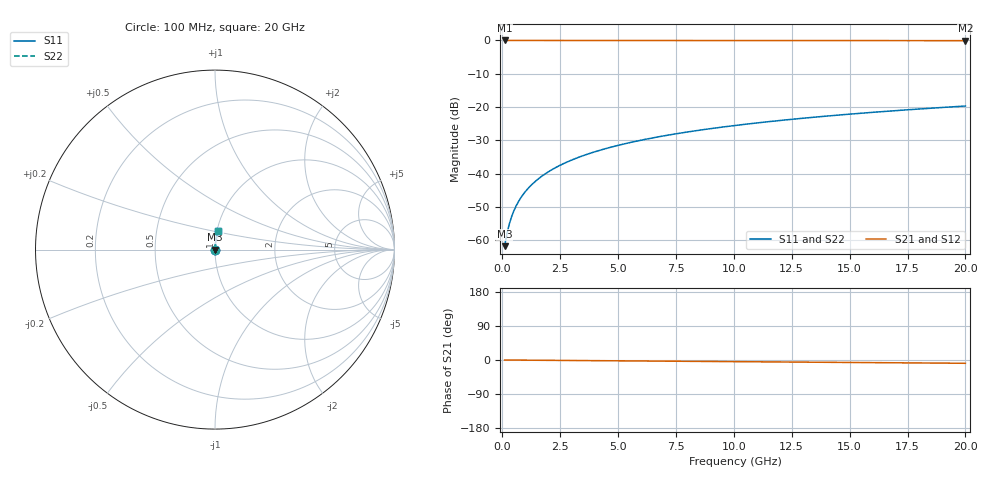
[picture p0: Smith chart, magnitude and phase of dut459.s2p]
! Touchstone file exported from HFSS 2026.1.0
!  File:  C:/ffzhzh/LocalFiles/Ansys_Project_Files/temp_train_TSV_459_1783021940_51716.aedt
!  Generated:  03:54:52 AM Jul  3, 2026
!  Design:  TSV
!  Project:  temp_train_TSV_459_1783021940_51716
! Variables:
!  h_bsmrdl = 2um
!  h_ox = 20um
!  h_rdl = 5um
!  h_sub = 54.07um
!  h_tmrdl = 5um
!  h_tsv = 54.07um
!  h_via = 3um
!  l_bsmrdl = 300um
!  l_sub = 406.56um
!  l_tmrdl = 200um
!  m_sub = 200um
!  pitch = 52.56um
!  r_tsv = 3.28um
!  s_tmrdl = 10um
!  w_bsmrdl = 18um
!  w_sub = 500um
!  w_tmrdl = 12um
!  x_tsv_center1 = 206um
!  x_tsv_center2 = 524um
!  x_tsv_center3 = 736um
!  x_tsv_center4 = 1054um
!  x_tsv_center5 = 1266um
!  x_tsv_center6 = 1584um
# GHz S MA R 50.000000
! Terminal data exported
! Port[1] = TSV1_1_T1
! Port[2] = TSV1_1_T2
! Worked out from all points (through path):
!   200 points, 100 MHz to 20 GHz, reference 50 ohm
!   highest |S21| = -0.01 dB at 100 MHz (marker M1); lowest = -0.1 dB at 20 GHz (marker M2)
!   group delay of S21, straight-line fit = 1.2 ps
!   lowest |S11| = -61.7 dB at 100 MHz (marker M3), VSWR 1.00, Z = 50.1 + j0.0548 ohm
!   |S11| at or under -10 dB: start of sweep to end of sweep
!   |S22| runs from -61.7 to -19.7 dB; largest |S21 - S12| = 2e-15
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0.1  0.0008193 41.9  0.9994 -0.0  0.9994 -0.0  0.0008193 41.9
! Gamma 0 0 0 0
! Port Impedance 50 0 50 0
0.2  0.001254 60.5  0.9994 -0.1  0.9994 -0.1  0.001254 60.5
0.3  0.001747 68.9  0.9994 -0.1  0.9994 -0.1  0.001747 68.9
0.4  0.00226 73.6  0.9994 -0.2  0.9994 -0.2  0.00226 73.6
0.5  0.00278 76.5  0.9994 -0.2  0.9994 -0.2  0.00278 76.5
0.6  0.003304 78.5  0.9993 -0.3  0.9993 -0.3  0.003304 78.5
0.8  0.00436 81.0  0.9993 -0.4  0.9993 -0.4  0.00436 81.0
1.1  0.005953 83.1  0.9993 -0.5  0.9993 -0.5  0.005953 83.1
1.5  0.008084 84.5  0.9993 -0.7  0.9993 -0.7  0.008084 84.5
1.8  0.009684 85.0  0.9992 -0.8  0.9992 -0.8  0.009684 85.0
2.1  0.01128 85.4  0.9992 -0.9  0.9992 -0.9  0.01128 85.4
2.7  0.01448 85.8  0.9991 -1.2  0.9991 -1.2  0.01448 85.8
3.5  0.01873 85.9  0.999 -1.5  0.999 -1.5  0.01873 85.9
4.2  0.02244 85.8  0.9988 -1.9  0.9988 -1.9  0.02244 85.8
5  0.02666 85.7  0.9987 -2.2  0.9987 -2.2  0.02666 85.7
5.9  0.03139 85.4  0.9984 -2.6  0.9984 -2.6  0.03139 85.4
6.8  0.0361 85.1  0.9982 -3.0  0.9982 -3.0  0.0361 85.1
8.3  0.04391 84.6  0.9977 -3.6  0.9977 -3.6  0.04391 84.6
10.1  0.05323 84.0  0.9971 -4.4  0.9971 -4.4  0.05323 84.0
13.4  0.0702 82.7  0.9958 -5.8  0.9958 -5.8  0.0702 82.7
16.7  0.08704 81.4  0.9942 -7.3  0.9942 -7.3  0.08704 81.4
20  0.1037 80.1  0.9924 -8.7  0.9924 -8.7  0.1037 80.1
